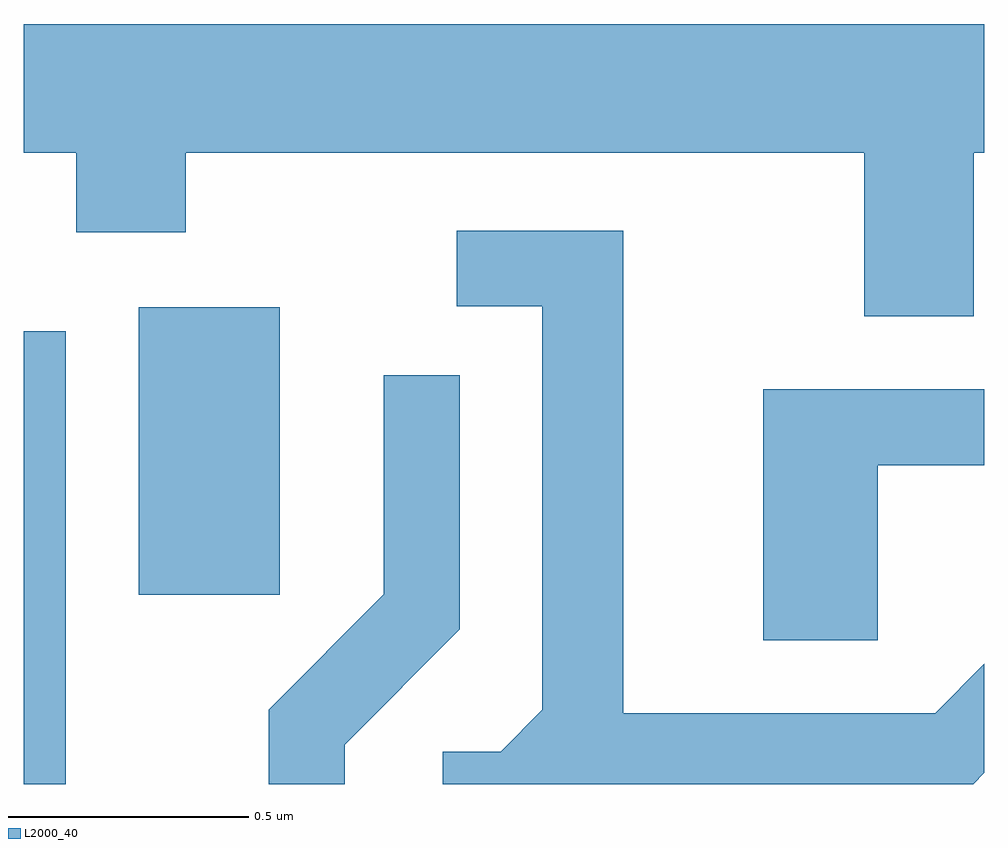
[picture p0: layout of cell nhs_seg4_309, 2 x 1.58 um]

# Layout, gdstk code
import gdstk
lib = gdstk.Library(unit=1e-6, precision=1e-09)
def R(c, l, rs):  # rectangles x0, y0, x1, y1
    for r in rs: c.add(gdstk.rectangle(r[:2], r[2:], *l))
def P(c, l, *ps):  # polygons
    for p in ps: c.add(gdstk.Polygon(p, *l))
L2000_40 = (2000, 40)

nhs_seg4_309 = lib.new_cell('nhs_seg4_309')
R(nhs_seg4_309, L2000_40, [(187.611,1288.982,187.699,1289.924), (187.851,1289.376,188.144,1289.974)])
P(nhs_seg4_309, L2000_40, [(189.589,1290.296),(189.611,1290.296),(189.611,1290.564),(187.611,1290.564),(187.611,1290.296),(187.721,1290.296),(187.721,1290.131),(187.949,1290.131),(187.949,1290.296),(189.361,1290.296),(189.361,1289.956),(189.589,1289.956)],
  [(189.611,1289.005),(189.611,1289.232),(189.509,1289.129),(188.859,1289.129),(188.859,1290.134),(188.513,1290.134),(188.513,1289.976),(188.691,1289.976),(188.691,1289.137),(188.604,1289.049),(188.483,1289.049),(188.483,1288.982),(189.588,1288.982)],
  [(188.279,1289.064),(188.519,1289.304),(188.519,1289.833),(188.361,1289.833),(188.361,1289.377),(188.121,1289.137),(188.121,1288.982),(188.279,1288.982)],
  [(189.389,1289.646),(189.611,1289.646),(189.611,1289.804),(189.151,1289.804),(189.151,1289.281),(189.389,1289.281)])

lib.write_gds('nhs_seg4_309.gds')
